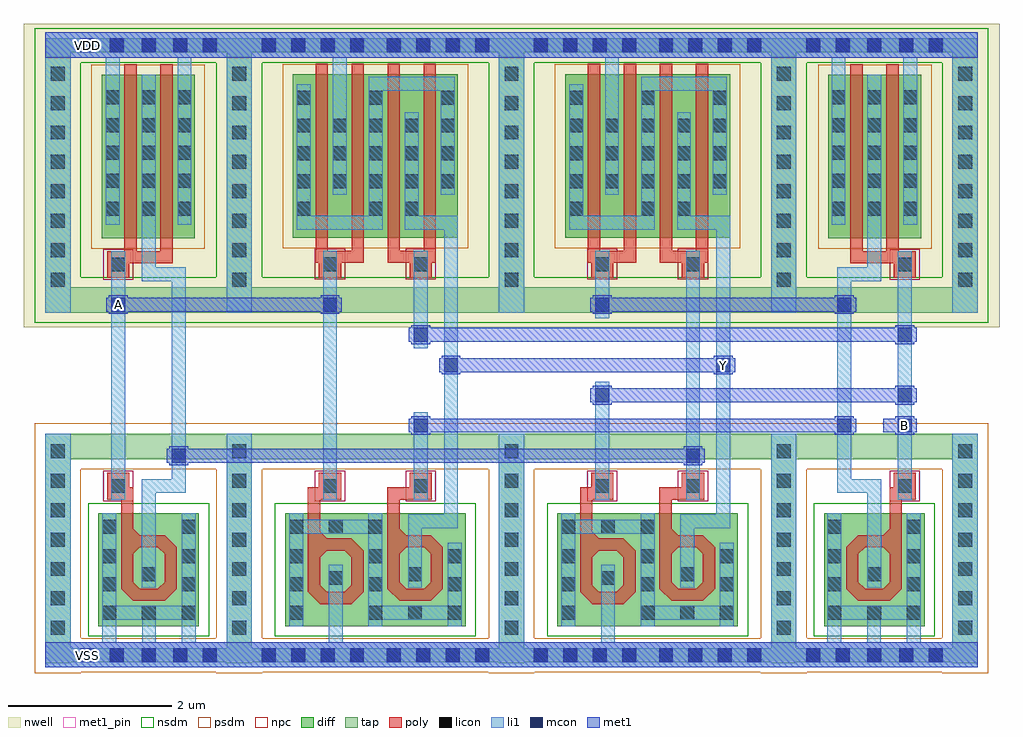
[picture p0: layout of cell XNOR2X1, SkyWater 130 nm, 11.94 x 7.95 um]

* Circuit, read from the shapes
.subckt XNOR2X1 A B VDD VSS Y
XM1 VSS A n1 VSS sky130_fd_pr__nfet_01v8 w=2.56 l=0.1462
XM2 n2 A VSS VSS sky130_fd_pr__nfet_01v8 w=2.6 l=0.1491
XM3 n2 n3 Y VSS sky130_fd_pr__nfet_01v8 w=2.56 l=0.1457
XM4 n4 B VSS VSS sky130_fd_pr__nfet_01v8 w=2.6 l=0.1492
XM5 n4 n1 Y VSS sky130_fd_pr__nfet_01v8 w=2.56 l=0.1458
XM6 VSS B n3 VSS sky130_fd_pr__nfet_01v8 w=2.56 l=0.1471
XM7 n1 A VDD VDD sky130_fd_pr__pfet_01v8 w=2 l=0.15 m=2
XM8 VDD A n5 VDD sky130_fd_pr__pfet_01v8 w=2 l=0.15 m=2
XM9 Y B n5 VDD sky130_fd_pr__pfet_01v8 w=2 l=0.15 m=2
XM10 VDD n3 n6 VDD sky130_fd_pr__pfet_01v8 w=2 l=0.15 m=2
XM11 Y n1 n6 VDD sky130_fd_pr__pfet_01v8 w=2 l=0.15 m=2
XM12 n3 B VDD VDD sky130_fd_pr__pfet_01v8 w=2 l=0.15 m=2
.ends

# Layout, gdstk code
import gdstk
lib = gdstk.Library(unit=1e-6, precision=1e-09)
def R(c, l, rs):  # rectangles x0, y0, x1, y1
    for r in rs: c.add(gdstk.rectangle(r[:2], r[2:], *l))
def A(c, l, x, y, w, h, nx, ny, dx, dy):  # array of equal rectangles
    R(c, l, [(x+i*dx, y+j*dy, x+i*dx+w, y+j*dy+h) for i in range(nx) for j in range(ny)])
def P(c, l, *ps):  # polygons
    for p in ps: c.add(gdstk.Polygon(p, *l))
nwell = (64, 20)
diff = (65, 20)
tap = (65, 44)
poly = (66, 20)
licon = (66, 44)
li1 = (67, 20)
mcon = (67, 44)
met1_pin = (68, 16)
met1 = (68, 20)
nsdm = (93, 44)
psdm = (94, 20)
npc = (95, 20)

xnor2x1 = lib.new_cell('XNOR2X1')
R(xnor2x1, nwell, [(-0.42,4.16,11.52,7.875)])
R(xnor2x1, diff, [(0.495,0.505,1.725,1.885), (2.78,0.505,4.99,1.885), (6.11,0.505,8.32,1.885), (9.375,0.505,10.605,1.885), (0.535,5.25,1.675,7.25), (9.425,5.25,10.565,7.25), (2.875,5.255,4.895,7.255), (6.205,5.255,8.225,7.255)])
A(xnor2x1, tap, 2.065, 0.055, 0.31, 0.01, 3, 1, 3.33, 0)
A(xnor2x1, tap, 2.065, 0.235, 0.31, 2.315, 3, 1, 3.33, 0)
A(xnor2x1, tap, 2.065, 4.65, 0.31, 2.875, 3, 1, 3.33, 0)
R(xnor2x1, tap, [(-0.155,0.055,0.155,0.065), (10.945,0.055,11.255,0.065), (-0.155,0.065,11.255,0.235), (-0.155,0.235,0.155,2.55), (10.945,0.235,11.255,2.55), (-0.155,2.55,11.255,2.86), (-0.155,4.34,11.255,4.65), (-0.155,4.65,0.155,7.525), (10.945,4.65,11.255,7.525), (-0.155,7.525,11.255,7.695)])
A(xnor2x1, poly, 3.155, 5.1, 0.15, 2.285, 4, 1, 0.44, 0)
A(xnor2x1, poly, 6.485, 5.1, 0.15, 2.285, 4, 1, 0.44, 0)
R(xnor2x1, poly, [(3.21,0.775,3.59,0.815), (6.54,0.775,6.92,0.815), (0.925,0.815,1.305,0.965), (3.17,0.815,3.59,0.925), (4.18,0.815,4.56,0.965), (6.5,0.815,6.92,0.925), (7.51,0.815,7.89,0.965), (9.795,0.815,10.175,0.965), (3.06,0.925,3.21,1.43), (3.59,0.925,3.74,1.43), (6.39,0.925,6.54,1.43), (6.92,0.925,7.07,1.43), (0.775,0.965,0.925,1.47), (1.305,0.965,1.455,1.47), (4.03,0.965,4.18,1.47), (4.56,0.965,4.71,1.47), (7.36,0.965,7.51,1.47), (7.89,0.965,8.04,1.47), (9.645,0.965,9.795,1.47), (10.175,0.965,10.325,1.47), (3.06,1.43,3.59,1.58), (6.39,1.43,6.92,1.58), (0.775,1.47,1.305,1.62), (4.03,1.47,4.56,1.62), (7.36,1.47,7.89,1.62), (9.795,1.47,10.325,1.62), (3.06,1.58,3.21,2.055), (6.39,1.58,6.54,2.055), (0.775,1.62,0.925,2.055), (4.03,1.62,4.18,2.055), (7.36,1.62,7.51,2.055), (10.175,1.62,10.325,2.055), (0.605,2.055,0.925,2.205), (3.06,2.055,3.465,2.205), (4.03,2.055,4.575,2.205), (6.39,2.055,6.795,2.205), (7.36,2.055,7.905,2.205), (10.175,2.055,10.495,2.205), (0.605,2.205,0.875,2.385), (3.195,2.205,3.465,2.385), (4.305,2.205,4.575,2.385), (6.525,2.205,6.795,2.385), (7.635,2.205,7.905,2.385), (10.225,2.205,10.495,2.385), (0.605,4.765,0.875,4.945), (10.225,4.765,10.495,4.945), (3.195,4.77,3.465,4.95), (4.305,4.77,4.575,4.95), (6.525,4.77,6.795,4.95), (7.635,4.77,7.905,4.95), (0.605,4.945,1.405,5.095), (9.695,4.945,10.495,5.095), (3.155,4.95,3.745,5.1), (4.035,4.95,4.625,5.1), (6.485,4.95,7.075,5.1), (7.365,4.95,7.955,5.1), (0.815,5.095,0.965,7.38), (1.255,5.095,1.405,7.38), (9.695,5.095,9.845,7.38), (10.135,5.095,10.285,7.38)])
P(xnor2x1, poly, [(0.925,1.7),(0.925,1.62),(1.005,1.62)],
  [(1.305,1.62),(1.305,1.47),(1.455,1.47)],
  [(0.925,1.39),(0.925,1.47),(1.005,1.47)],
  [(1.225,1.47),(1.305,1.47),(1.305,1.39)],
  [(0.925,1.045),(0.925,0.965),(1.005,0.965)],
  [(1.225,0.965),(1.305,0.965),(1.305,1.045)],
  [(0.775,0.965),(0.925,0.965),(0.925,0.815)],
  [(1.305,0.815),(1.305,0.965),(1.455,0.965)],
  [(3.21,1.66),(3.21,1.58),(3.29,1.58)],
  [(4.18,1.7),(4.18,1.62),(4.26,1.62)],
  [(3.59,1.58),(3.59,1.43),(3.74,1.43)],
  [(3.21,1.35),(3.21,1.43),(3.29,1.43)],
  [(3.51,1.43),(3.59,1.43),(3.59,1.35)],
  [(3.21,1.005),(3.21,0.925),(3.29,0.925)],
  [(3.51,0.925),(3.59,0.925),(3.59,1.005)],
  [(3.06,0.925),(3.17,0.925),(3.17,0.815)],
  [(3.17,0.815),(3.21,0.815),(3.21,0.775)],
  [(3.59,0.775),(3.59,0.925),(3.74,0.925)],
  [(4.56,1.62),(4.56,1.47),(4.71,1.47)],
  [(4.18,1.39),(4.18,1.47),(4.26,1.47)],
  [(4.48,1.47),(4.56,1.47),(4.56,1.39)],
  [(4.18,1.045),(4.18,0.965),(4.26,0.965)],
  [(4.48,0.965),(4.56,0.965),(4.56,1.045)],
  [(4.03,0.965),(4.18,0.965),(4.18,0.815)],
  [(4.56,0.815),(4.56,0.965),(4.71,0.965)],
  [(6.54,1.66),(6.54,1.58),(6.62,1.58)],
  [(7.51,1.7),(7.51,1.62),(7.59,1.62)],
  [(10.095,1.62),(10.175,1.62),(10.175,1.7)],
  [(6.92,1.58),(6.92,1.43),(7.07,1.43)],
  [(6.54,1.35),(6.54,1.43),(6.62,1.43)],
  [(6.84,1.43),(6.92,1.43),(6.92,1.35)],
  [(6.54,1.005),(6.54,0.925),(6.62,0.925)],
  [(6.84,0.925),(6.92,0.925),(6.92,1.005)],
  [(6.39,0.925),(6.5,0.925),(6.5,0.815)],
  [(6.5,0.815),(6.54,0.815),(6.54,0.775)],
  [(6.92,0.775),(6.92,0.925),(7.07,0.925)],
  [(7.89,1.62),(7.89,1.47),(8.04,1.47)],
  [(7.51,1.39),(7.51,1.47),(7.59,1.47)],
  [(7.81,1.47),(7.89,1.47),(7.89,1.39)],
  [(7.51,1.045),(7.51,0.965),(7.59,0.965)],
  [(7.81,0.965),(7.89,0.965),(7.89,1.045)],
  [(7.36,0.965),(7.51,0.965),(7.51,0.815)],
  [(7.89,0.815),(7.89,0.965),(8.04,0.965)],
  [(9.645,1.47),(9.795,1.47),(9.795,1.62)],
  [(9.795,1.39),(9.795,1.47),(9.875,1.47)],
  [(10.095,1.47),(10.175,1.47),(10.175,1.39)],
  [(9.795,1.045),(9.795,0.965),(9.875,0.965)],
  [(10.095,0.965),(10.175,0.965),(10.175,1.045)],
  [(9.645,0.965),(9.795,0.965),(9.795,0.815)],
  [(10.175,0.815),(10.175,0.965),(10.325,0.965)])
A(xnor2x1, licon, 0.635, 0.065, 0.17, 0.17, 3, 2, 0.39, 7.46)
A(xnor2x1, licon, 2.495, 0.065, 0.17, 0.17, 4, 2, 0.36, 7.46)
A(xnor2x1, licon, 4.025, 0.065, 0.17, 0.17, 4, 2, 0.36, 7.46)
A(xnor2x1, licon, 5.825, 0.065, 0.17, 0.17, 4, 2, 0.36, 7.46)
A(xnor2x1, licon, 7.355, 0.065, 0.17, 0.17, 4, 2, 0.36, 7.46)
A(xnor2x1, licon, 9.515, 0.065, 0.17, 0.17, 3, 2, 0.39, 7.46)
A(xnor2x1, licon, -0.085, 0.4, 0.17, 0.17, 1, 7, 0, 0.36)
A(xnor2x1, licon, 2.135, 0.4, 0.17, 0.17, 3, 7, 3.33, 0.36)
A(xnor2x1, licon, 11.015, 0.4, 0.17, 0.17, 1, 7, 0, 0.36)
A(xnor2x1, licon, 3.8, 0.585, 0.17, 0.17, 3, 1, 0.485, 0)
A(xnor2x1, licon, 7.13, 0.585, 0.17, 0.17, 3, 1, 0.485, 0)
A(xnor2x1, licon, 2.83, 0.935, 0.17, 0.17, 3, 2, 0.97, 0.34)
A(xnor2x1, licon, 6.16, 0.935, 0.17, 0.17, 3, 2, 0.97, 0.34)
A(xnor2x1, licon, 2.83, 1.635, 0.17, 0.17, 3, 1, 0.485, 0)
A(xnor2x1, licon, 6.16, 1.635, 0.17, 0.17, 3, 1, 0.485, 0)
A(xnor2x1, licon, -0.085, 4.66, 0.17, 0.17, 1, 8, 0, 0.36)
A(xnor2x1, licon, 2.135, 4.66, 0.17, 0.17, 3, 8, 3.33, 0.36)
A(xnor2x1, licon, 11.015, 4.66, 0.17, 0.17, 1, 8, 0, 0.36)
A(xnor2x1, licon, 0.585, 5.525, 0.17, 0.17, 3, 2, 0.44, 0.345)
A(xnor2x1, licon, 9.465, 5.525, 0.17, 0.17, 3, 2, 0.44, 0.345)
A(xnor2x1, licon, 2.925, 5.865, 0.17, 0.17, 5, 3, 0.44, 0.34)
A(xnor2x1, licon, 6.255, 5.865, 0.17, 0.17, 5, 3, 0.44, 0.34)
A(xnor2x1, licon, 0.585, 6.21, 0.17, 0.17, 3, 3, 0.44, 0.34)
A(xnor2x1, licon, 9.465, 6.21, 0.17, 0.17, 3, 3, 0.44, 0.34)
A(xnor2x1, licon, 2.925, 6.885, 0.17, 0.17, 3, 1, 0.88, 0)
A(xnor2x1, licon, 6.255, 6.885, 0.17, 0.17, 3, 1, 0.88, 0)
R(xnor2x1, licon, [(0.275,0.065,0.445,0.235), (1.775,0.065,1.945,0.235), (9.155,0.065,9.325,0.235), (10.655,0.065,10.825,0.235), (0.545,0.585,0.715,0.755), (1.025,0.585,1.195,0.755), (1.515,0.585,1.685,0.755), (2.83,0.585,3,0.755), (6.16,0.585,6.33,0.755), (9.415,0.585,9.585,0.755), (9.905,0.585,10.075,0.755), (10.385,0.585,10.555,0.755), (0.545,0.935,0.715,1.105), (1.515,0.935,1.685,1.105), (9.415,0.935,9.585,1.105), (10.385,0.935,10.555,1.105), (3.315,1.01,3.485,1.18), (6.645,1.01,6.815,1.18), (1.025,1.055,1.195,1.225), (4.285,1.055,4.455,1.225), (7.615,1.055,7.785,1.225), (9.905,1.055,10.075,1.225), (0.545,1.275,0.715,1.445), (1.515,1.275,1.685,1.445), (9.415,1.275,9.585,1.445), (10.385,1.275,10.555,1.445), (0.545,1.635,0.715,1.805), (1.515,1.635,1.685,1.805), (9.415,1.635,9.585,1.805), (10.385,1.635,10.555,1.805), (0.655,2.135,0.825,2.305), (3.245,2.135,3.415,2.305), (4.355,2.135,4.525,2.305), (6.575,2.135,6.745,2.305), (7.685,2.135,7.855,2.305), (10.275,2.135,10.445,2.305), (0.655,4.845,0.825,5.015), (10.275,4.845,10.445,5.015), (3.245,4.85,3.415,5.02), (4.355,4.85,4.525,5.02), (6.575,4.85,6.745,5.02), (7.685,4.85,7.855,5.02), (2.925,5.525,3.095,5.695), (3.805,5.525,3.975,5.695), (4.245,5.525,4.415,5.695), (6.255,5.525,6.425,5.695), (7.135,5.525,7.305,5.695), (7.575,5.525,7.745,5.695), (0.275,7.525,0.445,7.695), (1.775,7.525,1.945,7.695), (9.155,7.525,9.325,7.695), (10.655,7.525,10.825,7.695)])
A(xnor2x1, li1, 0.545, 0.31, 0.17, 0.275, 3, 1, 0.485, 0)
A(xnor2x1, li1, 2.065, 0.31, 0.31, 2.55, 3, 1, 3.33, 0)
A(xnor2x1, li1, 9.415, 0.31, 0.17, 0.275, 3, 1, 0.485, 0)
A(xnor2x1, li1, 2.065, 4.34, 0.31, 3.12, 3, 1, 3.33, 0)
R(xnor2x1, li1, [(-0.155,0,11.255,0.31), (-0.155,0.31,0.155,2.86), (3.315,0.31,3.485,1.26), (6.645,0.31,6.815,1.26), (10.945,0.31,11.255,2.86), (2.83,0.505,3,1.635), (3.8,0.505,3.97,0.585), (4.77,0.505,4.94,0.585), (6.16,0.505,6.33,1.635), (7.13,0.505,7.3,0.585), (8.1,0.505,8.27,0.585), (0.545,0.585,1.685,0.755), (3.8,0.585,4.94,0.755), (7.13,0.585,8.27,0.755), (9.415,0.585,10.555,0.755), (0.545,0.755,0.715,1.885), (1.515,0.755,1.685,1.885), (3.8,0.755,3.97,1.635), (4.77,0.755,4.94,1.525), (7.13,0.755,7.3,1.635), (8.1,0.755,8.27,1.525), (9.415,0.755,9.585,1.885), (10.385,0.755,10.555,1.885), (1.025,0.975,1.195,2.135), (4.285,0.975,4.455,1.705), (7.615,0.975,7.785,1.705), (9.905,0.975,10.075,2.135), (2.83,1.635,3.97,1.805), (6.16,1.635,7.3,1.805), (4.285,1.705,4.895,1.875), (7.615,1.705,8.225,1.875), (2.83,1.805,3,1.885), (3.8,1.805,3.97,1.885), (6.16,1.805,6.33,1.885), (7.13,1.805,7.3,1.885), (4.725,1.875,4.895,5.355), (8.055,1.875,8.225,5.355), (0.655,2.055,0.825,5.095), (3.245,2.055,3.415,5.1), (4.355,2.055,4.525,3.125), (6.575,2.055,6.745,3.495), (7.685,2.055,7.855,5.1), (10.275,2.055,10.445,5.095), (1.025,2.135,1.565,2.305), (9.535,2.135,10.075,2.305), (1.395,2.305,1.565,4.725), (9.535,2.305,9.705,4.725), (4.355,3.905,4.525,5.1), (6.575,4.275,6.745,5.1), (-0.155,4.34,0.155,7.46), (10.945,4.34,11.255,7.46), (1.025,4.725,1.565,4.895), (9.535,4.725,10.075,4.895), (1.025,4.895,1.195,7.25), (9.905,4.895,10.075,7.25), (2.925,5.355,3.975,5.525), (4.245,5.355,4.895,5.525), (6.255,5.355,7.305,5.525), (7.575,5.355,8.225,5.525), (0.585,5.415,0.755,7.46), (1.465,5.415,1.635,7.46), (9.465,5.415,9.635,7.46), (10.345,5.415,10.515,7.46), (2.925,5.525,3.095,7.135), (3.805,5.525,3.975,7.055), (4.245,5.525,4.415,6.795), (6.255,5.525,6.425,7.135), (7.135,5.525,7.305,7.055), (7.575,5.525,7.745,6.795), (3.365,5.785,3.535,7.46), (4.685,5.785,4.855,7.055), (6.695,5.785,6.865,7.46), (8.015,5.785,8.185,7.055), (3.805,7.055,4.855,7.225), (7.135,7.055,8.185,7.225), (-0.155,7.46,11.255,7.77)])
A(xnor2x1, mcon, 0.635, 0.065, 0.17, 0.17, 3, 2, 0.39, 7.46)
A(xnor2x1, mcon, 2.495, 0.065, 0.17, 0.17, 4, 2, 0.36, 7.46)
A(xnor2x1, mcon, 4.025, 0.065, 0.17, 0.17, 4, 2, 0.36, 7.46)
A(xnor2x1, mcon, 5.825, 0.065, 0.17, 0.17, 4, 2, 0.36, 7.46)
A(xnor2x1, mcon, 7.355, 0.065, 0.17, 0.17, 4, 2, 0.36, 7.46)
A(xnor2x1, mcon, 9.515, 0.065, 0.17, 0.17, 3, 2, 0.39, 7.46)
R(xnor2x1, mcon, [(0.275,0.065,0.445,0.235), (1.775,0.065,1.945,0.235), (9.155,0.065,9.325,0.235), (10.655,0.065,10.825,0.235), (1.395,2.505,1.565,2.675), (7.685,2.505,7.855,2.675), (4.355,2.875,4.525,3.045), (9.535,2.875,9.705,3.045), (10.275,2.875,10.445,3.045), (6.575,3.245,6.745,3.415), (10.275,3.245,10.445,3.415), (4.725,3.615,4.895,3.785), (8.055,3.615,8.225,3.785), (4.355,3.985,4.525,4.155), (10.275,3.985,10.445,4.155), (0.655,4.355,0.825,4.525), (3.245,4.355,3.415,4.525), (6.575,4.355,6.745,4.525), (9.535,4.355,9.705,4.525), (0.275,7.525,0.445,7.695), (1.775,7.525,1.945,7.695), (9.155,7.525,9.325,7.695), (10.655,7.525,10.825,7.695)])
R(xnor2x1, met1_pin, [(0.275,0.065,0.445,0.235), (10.275,2.875,10.445,3.045), (8.055,3.615,8.225,3.785), (0.655,4.355,0.825,4.525), (0.275,7.525,0.445,7.695)])
R(xnor2x1, met1, [(-0.155,0,11.255,0.31), (1.365,2.475,1.595,2.505), (7.655,2.475,7.885,2.505), (1.335,2.505,7.915,2.675), (1.365,2.675,1.595,2.705), (7.655,2.675,7.885,2.705), (4.325,2.845,4.555,2.875), (9.505,2.845,9.735,2.875), (10.245,2.845,10.475,2.875), (4.295,2.875,9.765,3.045), (10.095,2.875,10.505,3.045), (4.325,3.045,4.555,3.075), (9.505,3.045,9.735,3.075), (10.245,3.045,10.475,3.075), (6.545,3.215,6.775,3.245), (10.245,3.215,10.475,3.245), (6.515,3.245,10.505,3.415), (6.545,3.415,6.775,3.445), (10.245,3.415,10.475,3.445), (4.695,3.585,4.925,3.615), (8.025,3.585,8.255,3.615), (4.665,3.615,8.285,3.785), (4.695,3.785,4.925,3.815), (8.025,3.785,8.255,3.815), (4.325,3.955,4.555,3.985), (10.245,3.955,10.475,3.985), (4.295,3.985,10.505,4.155), (4.325,4.155,4.555,4.185), (10.245,4.155,10.475,4.185), (0.625,4.325,0.855,4.355), (3.215,4.325,3.445,4.355), (6.545,4.325,6.775,4.355), (9.505,4.325,9.735,4.355), (0.595,4.355,3.475,4.525), (6.515,4.355,9.765,4.525), (0.625,4.525,0.855,4.555), (3.215,4.525,3.445,4.555), (6.545,4.525,6.775,4.555), (9.505,4.525,9.735,4.555), (-0.155,7.46,11.255,7.77)])
A(xnor2x1, nsdm, 1.94, 4.775, 0.56, 2.625, 3, 1, 3.33, 0)
R(xnor2x1, nsdm, [(0.37,0.38,1.85,2.01), (2.655,0.38,5.115,2.01), (5.985,0.38,8.445,2.01), (9.25,0.38,10.73,2.01), (-0.28,4.215,11.38,4.775), (-0.28,4.775,0.28,7.4), (10.82,4.775,11.38,7.4), (-0.28,7.4,11.38,7.82)])
A(xnor2x1, psdm, 1.94, -0.07, 0.56, 0.01, 3, 1, 3.33, 0)
A(xnor2x1, psdm, 1.94, 0.36, 0.56, 2.065, 3, 1, 3.33, 0)
R(xnor2x1, psdm, [(-0.28,-0.07,0.28,-0.06), (10.82,-0.07,11.38,-0.06), (-0.28,-0.06,11.38,0.36), (-0.28,0.36,0.28,2.425), (10.82,0.36,11.38,2.425), (-0.28,2.425,11.38,2.985), (0.41,5.125,1.8,7.375), (9.3,5.125,10.69,7.375), (2.75,5.13,5.02,7.38), (6.08,5.13,8.35,7.38)])
R(xnor2x1, npc, [(0.555,2.035,0.925,2.405), (3.145,2.035,3.515,2.405), (4.255,2.035,4.625,2.405), (6.475,2.035,6.845,2.405), (7.585,2.035,7.955,2.405), (10.175,2.035,10.545,2.405), (0.555,4.745,0.925,5.115), (10.175,4.745,10.545,5.115), (3.145,4.75,3.515,5.12), (4.255,4.75,4.625,5.12), (6.475,4.75,6.845,5.12), (7.585,4.75,7.955,5.12)])
xnor2x1.add(gdstk.Label('Y', (8.14,3.7), layer=68, texttype=16))
xnor2x1.add(gdstk.Label('A', (0.74,4.44), layer=68, texttype=16))
xnor2x1.add(gdstk.Label('B', (10.36,2.96), layer=68, texttype=16))
xnor2x1.add(gdstk.Label('VDD', (0.36,7.61), layer=68, texttype=16))
xnor2x1.add(gdstk.Label('VSS', (0.36,0.15), layer=68, texttype=16))

lib.write_gds('XNOR2X1.gds')
